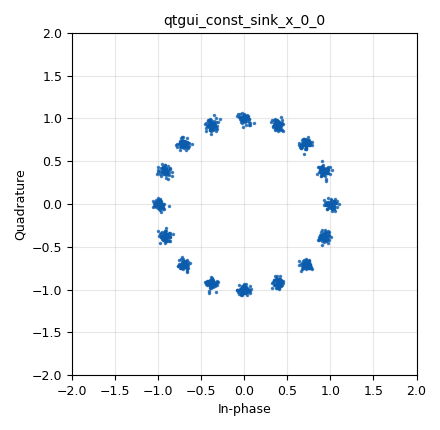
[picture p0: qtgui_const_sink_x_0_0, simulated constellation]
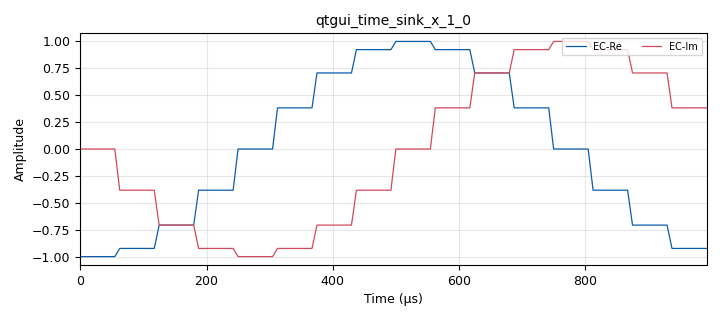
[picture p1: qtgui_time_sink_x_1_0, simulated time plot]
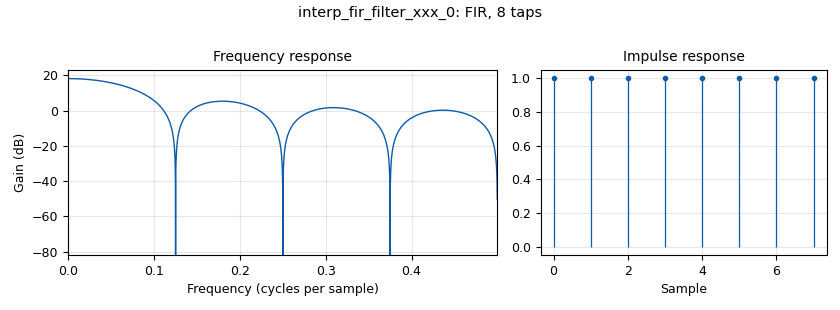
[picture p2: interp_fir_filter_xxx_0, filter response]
options:
  parameters:
    generate_options: qt_gui
    id: Practica_4
    output_language: python
    title: Not titled yet
  states: {}

blocks:
- name: Constelacion_0
  id: variable
  parameters:
    value: '[(1+0j), (0.9239+0.3827j), (0.7071+0.7071j), (0.3827+0.9239j), (0+1j), (-0.3827+0.9239j), (-0.7071+0.7071j), (-0.9239+0.3827j), (-1+0j), (-0.9239-0.3827j), (-0.7071-0.7071j), (-0.3827-0.9239j), (0-1j), (0.3827-0.9239j), (0.7071-0.7071j), (0.9239-0.3827j)]'
  states: {}
- name: M
  id: variable
  parameters:
    value: '4'
  states: {}
- name: N
  id: variable
  parameters:
    value: '1024'
  states: {}
- name: Nbps
  id: variable
  parameters:
    value: int(math.log(M,2))
  states: {}
- name: QPSK
  id: variable
  parameters:
    value: '[(-0.7071-0.7071j), (-1+0j), (-0.7071+0.7071j), (0+1j), (0.7071+0.7071j), (1+0j), (0.7071-0.7071j), (0-1j)]'
  states: {}
- name: Rb
  id: variable
  parameters:
    value: '32000'
  states: {}
- name: Rs
  id: variable
  parameters:
    value: Rb/Nbps
  states: {}
- name: h
  id: variable
  parameters:
    value: (1,1,1,1,1,1,1,1)
  states: {}
- name: samp_rate
  id: variable
  parameters:
    value: Rs*sps
  states: {}
- name: sps
  id: variable
  parameters:
    value: len(h)
  states: {}
- name: analog_const_source_x_0
  id: analog_const_source_x
  parameters:
    const: '1'
    type: float
  states: {state: disabled}
- name: analog_noise_source_x_0
  id: analog_noise_source_x
  parameters:
    amp: '0.05'
    noise_type: analog.GR_GAUSSIAN
    seed: '0'
    type: complex
  states: {}
- name: analog_random_source_x_0
  id: analog_random_source_x
  parameters:
    max: '2'
    min: '0'
    num_samps: '1000'
    repeat: 'True'
    type: byte
  states: {state: disabled}
- name: blocks_add_xx_0
  id: blocks_add_xx
  parameters:
    type: complex
  states: {}
- name: blocks_char_to_float_0
  id: blocks_char_to_float
  parameters:
    scale: '1'
  states: {state: disabled}
- name: blocks_char_to_float_0_0
  id: blocks_char_to_float
  parameters:
    scale: '1'
  states: {state: disabled}
- name: blocks_char_to_float_0_0_0
  id: blocks_char_to_float
  parameters:
    scale: '1'
  states: {state: disabled}
- name: blocks_multiply_const_vxx_0
  id: blocks_multiply_const_vxx
  parameters:
    const: 2*math.pi/M
    type: float
  states: {state: disabled}
- name: blocks_null_sink_0
  id: blocks_null_sink
  parameters:
    type: complex
  states: {state: disabled}
- name: blocks_pack_k_bits_bb_0
  id: blocks_pack_k_bits_bb
  parameters:
    k: '8'
  states: {state: disabled}
- name: blocks_repack_bits_bb_0
  id: blocks_repack_bits_bb
  parameters:
    endianness: gr.GR_LSB_FIRST
    k: '1'
    l: Nbps
  states: {state: disabled}
- name: blocks_repack_bits_bb_1
  id: blocks_repack_bits_bb
  parameters:
    endianness: gr.GR_LSB_FIRST
    k: '1'
    l: '2'
  states: {state: disabled}
- name: blocks_vector_source_x_0
  id: blocks_vector_source_x
  parameters:
    repeat: 'True'
    type: byte
    vector: (0,1,2,3,4,5,6,7,8,9,10,11,12,13,14,15)
  states: {}
- name: digital_chunks_to_symbols_xx_0
  id: digital_chunks_to_symbols_xx
  parameters:
    dimension: '1'
    in_type: byte
    out_type: complex
    symbol_table: Constelacion_0
  states: {}
- name: epy_block_0_0
  id: epy_block
  parameters:
    _source_code: |
      import numpy as np
      from gnuradio import gr
      import math

      class blk(gr.sync_block):  
          """This block is a CE VCO or baseband VCO and works as following: ….."""

          def __init__(self,):  
              gr.sync_block.__init__(
                  self,
                  name='e_CE_VCO_fc',   
                  in_sig=[np.float32, np.float32],
                  out_sig=[np.complex64]
              )
              
          def work(self, input_items, output_items):
              Q=input_items[0]
              A=input_items[1]
              y=output_items[0]
              N=len(A)
              y[:]=A*np.exp(1j*Q)
              return len(output_items[0])
  states: {state: disabled}
- name: import_0
  id: import
  parameters:
    imports: import math
  states: {}
- name: interp_fir_filter_xxx_0
  id: interp_fir_filter_xxx
  parameters:
    interp: sps
    taps: h
    type: ccf
  states: {}
- name: qtgui_const_sink_x_0
  id: qtgui_const_sink_x
  parameters:
    name: '"Constelacion"'
    size: '1024'
    type: complex
  states: {state: disabled}
- name: qtgui_const_sink_x_0_0
  id: qtgui_const_sink_x
  parameters:
    size: '1024'
    type: complex
  states: {}
- name: qtgui_freq_sink_x_0
  id: qtgui_freq_sink_x
  parameters:
    average: '0.05'
    bw: samp_rate
    fc: '0'
    fftsize: '1024'
    type: complex
  states: {state: disabled}
- name: qtgui_time_sink_x_0
  id: qtgui_time_sink_x
  parameters:
    label1: M-PAM
    marker1: '0'
    size: '32'
    srate: samp_rate
    stemplot: 'True'
    type: float
    width1: '3'
  states: {state: disabled}
- name: qtgui_time_sink_x_0_0
  id: qtgui_time_sink_x
  parameters:
    label1: M-PAM-MOD
    marker1: '0'
    size: int(32/Nbps)
    srate: Rs
    stemplot: 'True'
    type: float
    width1: '3'
  states: {state: disabled}
- name: qtgui_time_sink_x_0_0_0
  id: qtgui_time_sink_x
  parameters:
    label1: Binary
    marker1: '0'
    size: int(32/Nbps)
    srate: Rs
    stemplot: 'True'
    type: float
    width1: '3'
  states: {state: disabled}
- name: qtgui_time_sink_x_1
  id: qtgui_time_sink_x
  parameters:
    label1: EC-Re
    label2: EC-Im
    marker1: '0'
    marker2: '0'
    name: '"Vector Source"'
    size: int(32/Nbps)
    srate: Rs
    stemplot: 'True'
    type: complex
    width1: '3'
    width2: '3'
  states: {state: disabled}
- name: qtgui_time_sink_x_1_0
  id: qtgui_time_sink_x
  parameters:
    label1: EC-Re
    label2: EC-Im
    size: int(32*sps/Nbps)
    srate: samp_rate
    type: complex
    width1: '3'
    width2: '3'
  states: {}

connections:
- [analog_const_source_x_0, '0', epy_block_0_0, '1']
- [analog_noise_source_x_0, '0', blocks_add_xx_0, '0']
- [analog_random_source_x_0, '0', blocks_char_to_float_0, '0']
- [analog_random_source_x_0, '0', blocks_pack_k_bits_bb_0, '0']
- [analog_random_source_x_0, '0', blocks_repack_bits_bb_0, '0']
- [blocks_add_xx_0, '0', blocks_null_sink_0, '0']
- [blocks_add_xx_0, '0', qtgui_const_sink_x_0_0, '0']
- [blocks_char_to_float_0, '0', qtgui_time_sink_x_0, '0']
- [blocks_char_to_float_0_0, '0', qtgui_time_sink_x_0_0, '0']
- [blocks_char_to_float_0_0_0, '0', blocks_multiply_const_vxx_0, '0']
- [blocks_multiply_const_vxx_0, '0', epy_block_0_0, '0']
- [blocks_multiply_const_vxx_0, '0', qtgui_time_sink_x_0_0_0, '0']
- [blocks_pack_k_bits_bb_0, '0', blocks_repack_bits_bb_1, '0']
- [blocks_repack_bits_bb_0, '0', blocks_char_to_float_0_0, '0']
- [blocks_repack_bits_bb_0, '0', blocks_char_to_float_0_0_0, '0']
- [blocks_repack_bits_bb_0, '0', digital_chunks_to_symbols_xx_0, '0']
- [blocks_repack_bits_bb_1, '0', digital_chunks_to_symbols_xx_0, '0']
- [blocks_vector_source_x_0, '0', blocks_multiply_const_vxx_0, '0']
- [blocks_vector_source_x_0, '0', digital_chunks_to_symbols_xx_0, '0']
- [digital_chunks_to_symbols_xx_0, '0', interp_fir_filter_xxx_0, '0']
- [epy_block_0_0, '0', interp_fir_filter_xxx_0, '0']
- [epy_block_0_0, '0', qtgui_const_sink_x_0, '0']
- [epy_block_0_0, '0', qtgui_time_sink_x_1, '0']
- [interp_fir_filter_xxx_0, '0', blocks_add_xx_0, '1']
- [interp_fir_filter_xxx_0, '0', qtgui_freq_sink_x_0, '0']
- [interp_fir_filter_xxx_0, '0', qtgui_time_sink_x_1_0, '0']

metadata:
  file_format: 1
  grc_version: 3.10.12.0
